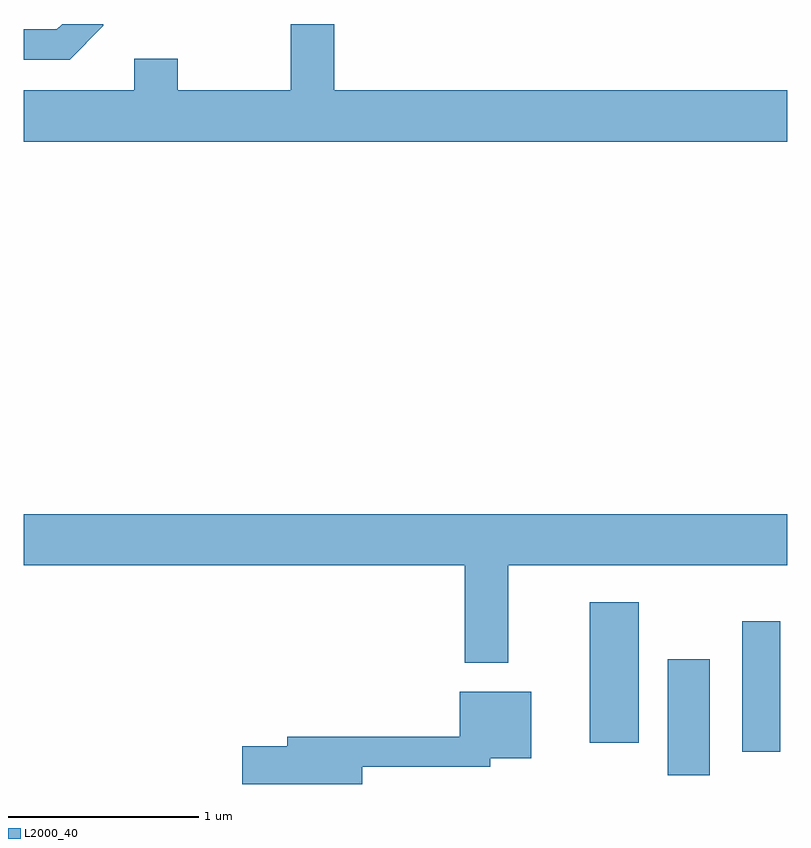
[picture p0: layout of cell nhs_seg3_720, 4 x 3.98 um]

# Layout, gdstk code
import gdstk
lib = gdstk.Library(unit=1e-6, precision=1e-09)
def R(c, l, rs):  # rectangles x0, y0, x1, y1
    for r in rs: c.add(gdstk.rectangle(r[:2], r[2:], *l))
def P(c, l, *ps):  # polygons
    for p in ps: c.add(gdstk.Polygon(p, *l))
L2000_40 = (2000, 40)

nhs_seg3_720 = lib.new_cell('nhs_seg3_720')
R(nhs_seg3_720, L2000_40, [(208.986,1195.956,209.204,1196.564), (209.376,1196.081,209.574,1196.764), (208.576,1196.126,208.834,1196.864)])
P(nhs_seg3_720, L2000_40, [(209.611,1199.544),(207.239,1199.544),(207.239,1199.892),(207.011,1199.892),(207.011,1199.544),(206.419,1199.544),(206.419,1199.709),(206.191,1199.709),(206.191,1199.544),(205.611,1199.544),(205.611,1199.276),(209.611,1199.276)],
  [(206.029,1199.884),(206.029,1199.892),(205.812,1199.892),(205.784,1199.864),(205.611,1199.864),(205.611,1199.706),(205.852,1199.706)],
  [(208.149,1197.056),(209.611,1197.056),(209.611,1197.324),(205.611,1197.324),(205.611,1197.056),(207.921,1197.056),(207.921,1196.546),(208.149,1196.546)],
  [(207.384,1196.001),(208.054,1196.001),(208.054,1196.046),(208.269,1196.046),(208.269,1196.394),(207.896,1196.394),(207.896,1196.159),(206.991,1196.159),(206.991,1196.109),(206.756,1196.109),(206.756,1195.911),(207.384,1195.911)])

lib.write_gds('nhs_seg3_720.gds')
